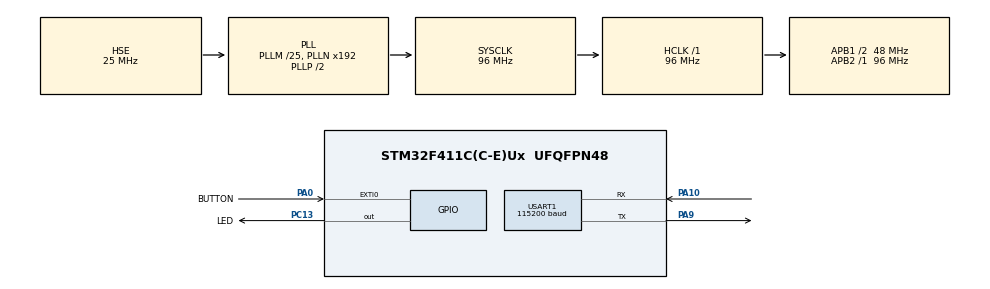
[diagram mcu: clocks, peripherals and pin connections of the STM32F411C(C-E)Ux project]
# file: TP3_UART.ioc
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Mcu.Family=STM32F4
Mcu.Name=STM32F411C(C-E)Ux
Mcu.Package=UFQFPN48
NVIC.EXTI0_IRQn=true\:0\:0\:false\:false\:true\:true\:true\:true
NVIC.PriorityGroup=NVIC_PRIORITYGROUP_4
NVIC.TIM4_IRQn=true\:0\:0\:false\:false\:true\:true\:true\:true
NVIC.USART1_IRQn=true\:0\:0\:false\:false\:true\:true\:true\:true
PA0-WKUP.GPIO_Label=BUTTON
PA0-WKUP.GPIO_ModeDefaultEXTI=GPIO_MODE_IT_FALLING
PA0-WKUP.GPIO_PuPd=GPIO_PULLUP
PA0-WKUP.Signal=GPXTI0
PA10.Mode=Asynchronous
PA10.Signal=USART1_RX
PA13.Mode=Serial_Wire
PA13.Signal=SYS_JTMS-SWDIO
PA14.Mode=Serial_Wire
PA14.Signal=SYS_JTCK-SWCLK
PA9.Mode=Asynchronous
PA9.Signal=USART1_TX
PC13-ANTI_TAMP.GPIO_Label=LED
PC13-ANTI_TAMP.Signal=GPIO_Output
PC14-OSC32_IN.Mode=LSE-External-Oscillator
PC14-OSC32_IN.Signal=RCC_OSC32_IN
PC15-OSC32_OUT.Mode=LSE-External-Oscillator
PC15-OSC32_OUT.Signal=RCC_OSC32_OUT
PH0\ -\ OSC_IN.Mode=HSE-External-Oscillator
PH0\ -\ OSC_IN.Signal=RCC_OSC_IN
PH1\ -\ OSC_OUT.Mode=HSE-External-Oscillator
PH1\ -\ OSC_OUT.Signal=RCC_OSC_OUT
ProjectManager.TargetToolchain=STM32CubeIDE
RCC.AHBFreq_Value=96000000
RCC.APB1CLKDivider=RCC_HCLK_DIV2
RCC.APB1Freq_Value=48000000
RCC.APB1TimFreq_Value=96000000
RCC.APB2Freq_Value=96000000
RCC.APB2TimFreq_Value=96000000
RCC.CortexFreq_Value=96000000
RCC.HCLKFreq_Value=96000000
RCC.HSE_VALUE=25000000
RCC.HSI_VALUE=16000000
RCC.PLLM=25
RCC.SYSCLKFreq_VALUE=96000000
RCC.SYSCLKSource=RCC_SYSCLKSOURCE_PLLCLK
RCC.VCOOutputFreq_Value=192000000
TIM4.Period=4999
TIM4.Prescaler=9599
USART1.BaudRate=115200
USART1.VirtualMode-Asynchronous=VM_ASYNC
VP_TIM4_VS_ClockSourceINT.Mode=Internal
board=custom

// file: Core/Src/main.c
/* USER CODE BEGIN Header */
/**
  ******************************************************************************
  * @file           : main.c
  * @brief          : TP3 - Interrupts & USART1 Communication (STM32F411CEUx)
  ******************************************************************************
  */
/* USER CODE END Header */
#include "main.h"

/* USER CODE BEGIN Includes */
#include <stdbool.h>
#include <stdint.h>
#include <stdio.h>
#include <string.h>
/* USER CODE END Includes */

TIM_HandleTypeDef htim4;
UART_HandleTypeDef huart1;

/* USER CODE BEGIN PV */
#define RX_BUF_SIZE 128

static volatile uint8_t uart_rx_buf[RX_BUF_SIZE];
static volatile uint16_t uart_rx_head = 0;
static volatile uint16_t uart_rx_tail = 0;
static uint8_t uart_rx_byte = 0;

static volatile bool button_event = false;
static volatile bool timer_event = false;
static bool blink_enabled = true;
/* USER CODE END PV */

void SystemClock_Config(void);
static void MX_GPIO_Init(void);
static void MX_TIM4_Init(void);
static void MX_USART1_UART_Init(void);

/* USER CODE BEGIN PFP */
static void uart_print(const char *s);
static void uart_println(const char *s);
static void handle_command(const char *cmd);
/* USER CODE END PFP */

/* USER CODE BEGIN 0 */
static void uart_print(const char *s)
{
    HAL_UART_Transmit(&huart1, (uint8_t *)s, (uint16_t)strlen(s), 100);
}

static void uart_println(const char *s)
{
    uart_print(s);
    uart_print("\r\n");
}

static void handle_command(const char *cmd)
{
    uart_print("Received: ");
    uart_println(cmd);

    if (strcmp(cmd, "LED ON") == 0)
    {
        blink_enabled = false;
        HAL_GPIO_WritePin(LED_GPIO_Port, LED_Pin, GPIO_PIN_RESET); // active low
        uart_println("OK: LED ON (blink paused)");
    }
    else if (strcmp(cmd, "LED OFF") == 0)
    {
        blink_enabled = false;
        HAL_GPIO_WritePin(LED_GPIO_Port, LED_Pin, GPIO_PIN_SET); // active low
        uart_println("OK: LED OFF (blink paused)");
    }
    else if (strcmp(cmd, "LED TOGGLE") == 0)
    {
        HAL_GPIO_TogglePin(LED_GPIO_Port, LED_Pin);
        uart_println("OK: LED TOGGLED");
    }
    else if (strcmp(cmd, "BLINK ON") == 0)
    {
        blink_enabled = true;
        uart_println("OK: BLINK ON (500ms)");
    }
    else if (strcmp(cmd, "BLINK OFF") == 0)
    {
        blink_enabled = false;
        uart_println("OK: BLINK OFF");
    }
    else if (strcmp(cmd, "STATUS") == 0)
    {
        GPIO_PinState pin = HAL_GPIO_ReadPin(LED_GPIO_Port, LED_Pin);
        uart_print("LED=");
        uart_print((pin == GPIO_PIN_RESET) ? "ON" : "OFF");
        uart_print(", BLINK=");
        uart_println(blink_enabled ? "ON" : "OFF");
    }
    else if (strcmp(cmd, "HELP") == 0)
    {
        uart_println("Commands: LED ON | LED OFF | LED TOGGLE | BLINK ON | BLINK OFF | STATUS | HELP");
    }
}
/* USER CODE END 0 */

int main(void)
{
    HAL_Init();
    SystemClock_Config();

    MX_GPIO_Init();
    MX_TIM4_Init();
    MX_USART1_UART_Init();

    /* USER CODE BEGIN 2 */
    HAL_TIM_Base_Start_IT(&htim4);
    HAL_UART_Receive_IT(&huart1, &uart_rx_byte, 1); // arm 1-byte interrupt RX
    uart_println("TP3 UART Ready");
    /* USER CODE END 2 */

    /* USER CODE BEGIN WHILE */
    char buffer[64];
    uint16_t idx = 0;

    while (1)
    {
        /* USER CODE END WHILE */

        /* USER CODE BEGIN 3 */
        if (button_event)
        {
            button_event = false;
            HAL_GPIO_TogglePin(LED_GPIO_Port, LED_Pin);
            uart_println("Button pressed");
        }

        if (timer_event)
        {
            timer_event = false;
            if (blink_enabled)
            {
                HAL_GPIO_TogglePin(LED_GPIO_Port, LED_Pin);
            }
        }

        while (uart_rx_tail != uart_rx_head)
        {
            char c = (char)uart_rx_buf[uart_rx_tail];
            uart_rx_tail = (uint16_t)((uart_rx_tail + 1U) % RX_BUF_SIZE);

            if (c == '\r')
            {
                continue; // ignore CR in CRLF terminals
            }

            if (c == '\n')
            {
                if (idx > 0U)
                {
                    buffer[idx] = '\0';
                    handle_command(buffer);
                    idx = 0U;
                }
            }
            else if (idx < (sizeof(buffer) - 1U))
            {
                buffer[idx++] = c;
            }
        }
        /* USER CODE END 3 */
    }
}

void SystemClock_Config(void)
{
    RCC_OscInitTypeDef RCC_OscInitStruct = {0};
    RCC_ClkInitTypeDef RCC_ClkInitStruct = {0};

    __HAL_RCC_PWR_CLK_ENABLE();
    __HAL_PWR_VOLTAGESCALING_CONFIG(PWR_REGULATOR_VOLTAGE_SCALE1);

    RCC_OscInitStruct.OscillatorType = RCC_OSCILLATORTYPE_HSE;
    RCC_OscInitStruct.HSEState = RCC_HSE_ON;
    RCC_OscInitStruct.PLL.PLLState = RCC_PLL_ON;
    RCC_OscInitStruct.PLL.PLLSource = RCC_PLLSOURCE_HSE;
    RCC_OscInitStruct.PLL.PLLM = 25;
    RCC_OscInitStruct.PLL.PLLN = 192;
    RCC_OscInitStruct.PLL.PLLP = RCC_PLLP_DIV2; // 96 MHz SYSCLK
    RCC_OscInitStruct.PLL.PLLQ = 4;
    if (HAL_RCC_OscConfig(&RCC_OscInitStruct) != HAL_OK)
    {
        Error_Handler();
    }

    RCC_ClkInitStruct.ClockType = RCC_CLOCKTYPE_HCLK | RCC_CLOCKTYPE_SYSCLK
                                  | RCC_CLOCKTYPE_PCLK1 | RCC_CLOCKTYPE_PCLK2;
    RCC_ClkInitStruct.SYSCLKSource = RCC_SYSCLKSOURCE_PLLCLK;
    RCC_ClkInitStruct.AHBCLKDivider = RCC_SYSCLK_DIV1;
    RCC_ClkInitStruct.APB1CLKDivider = RCC_HCLK_DIV2; // 48 MHz APB1, 96 MHz APB1 Timers
    RCC_ClkInitStruct.APB2CLKDivider = RCC_HCLK_DIV1;

    if (HAL_RCC_ClockConfig(&RCC_ClkInitStruct, FLASH_LATENCY_3) != HAL_OK)
    {
        Error_Handler();
    }
}

static void MX_TIM4_Init(void)
{
    TIM_ClockConfigTypeDef sClockSourceConfig = {0};
    TIM_MasterConfigTypeDef sMasterConfig = {0};

    htim4.Instance = TIM4;
    htim4.Init.Prescaler = 9599; // 96 MHz / 9600 = 10 kHz
    htim4.Init.CounterMode = TIM_COUNTERMODE_UP;
    htim4.Init.Period = 4999;    // 10 kHz / 5000 = 2 Hz (every 500 ms)
    htim4.Init.ClockDivision = TIM_CLOCKDIVISION_DIV1;
    htim4.Init.AutoReloadPreload = TIM_AUTORELOAD_PRELOAD_DISABLE;
    if (HAL_TIM_Base_Init(&htim4) != HAL_OK)
    {
        Error_Handler();
    }
    sClockSourceConfig.ClockSource = TIM_CLOCKSOURCE_INTERNAL;
    if (HAL_TIM_ConfigClockSource(&htim4, &sClockSourceConfig) != HAL_OK)
    {
        Error_Handler();
    }
    sMasterConfig.MasterOutputTrigger = TIM_TRGO_RESET;
    sMasterConfig.MasterSlaveMode = TIM_MASTERSLAVEMODE_DISABLE;
    if (HAL_TIMEx_MasterConfigSynchronization(&htim4, &sMasterConfig) != HAL_OK)
    {
        Error_Handler();
    }
}

static void MX_USART1_UART_Init(void)
{
    huart1.Instance = USART1;
    huart1.Init.BaudRate = 115200;
    huart1.Init.WordLength = UART_WORDLENGTH_8B;
    huart1.Init.StopBits = UART_STOPBITS_1;
    huart1.Init.Parity = UART_PARITY_NONE;
    huart1.Init.Mode = UART_MODE_TX_RX;
    huart1.Init.HwFlowCtl = UART_HWCONTROL_NONE;
    huart1.Init.OverSampling = UART_OVERSAMPLING_16;
    if (HAL_UART_Init(&huart1) != HAL_OK)
    {
        Error_Handler();
    }
}

static void MX_GPIO_Init(void)
{
    GPIO_InitTypeDef GPIO_InitStruct = {0};

    __HAL_RCC_GPIOC_CLK_ENABLE();
    __HAL_RCC_GPIOH_CLK_ENABLE();
    __HAL_RCC_GPIOA_CLK_ENABLE();

    HAL_GPIO_WritePin(LED_GPIO_Port, LED_Pin, GPIO_PIN_SET); // active low: start OFF

    GPIO_InitStruct.Pin = LED_Pin;
    GPIO_InitStruct.Mode = GPIO_MODE_OUTPUT_PP;
    GPIO_InitStruct.Pull = GPIO_NOPULL;
    GPIO_InitStruct.Speed = GPIO_SPEED_FREQ_LOW;
    HAL_GPIO_Init(LED_GPIO_Port, &GPIO_InitStruct);

    GPIO_InitStruct.Pin = BUTTON_Pin;
    GPIO_InitStruct.Mode = GPIO_MODE_IT_FALLING;
    GPIO_InitStruct.Pull = GPIO_PULLUP;
    HAL_GPIO_Init(BUTTON_GPIO_Port, &GPIO_InitStruct);

    HAL_NVIC_SetPriority(EXTI0_IRQn, 0, 0);
    HAL_NVIC_EnableIRQ(EXTI0_IRQn);
}

/* USER CODE BEGIN 4 */
void HAL_GPIO_EXTI_Callback(uint16_t GPIO_Pin)
{
    static uint32_t last_tick = 0;

    if (GPIO_Pin == BUTTON_Pin)
    {
        uint32_t now = HAL_GetTick();
        if ((now - last_tick) > 200U) // 200 ms debounce
        {
            button_event = true;
            last_tick = now;
        }
    }
}

void HAL_TIM_PeriodElapsedCallback(TIM_HandleTypeDef *htim)
{
    if (htim->Instance == TIM4)
    {
        timer_event = true;
    }
}

void HAL_UART_RxCpltCallback(UART_HandleTypeDef *huart)
{
    if (huart->Instance == USART1)
    {
        uint16_t next = (uint16_t)((uart_rx_head + 1U) % RX_BUF_SIZE);
        if (next != uart_rx_tail)
        {
            uart_rx_buf[uart_rx_head] = uart_rx_byte;
            uart_rx_head = next;
        }
        HAL_UART_Receive_IT(&huart1, &uart_rx_byte, 1); // re-arm for next byte
    }
}
/* USER CODE END 4 */

void Error_Handler(void)
{
    __disable_irq();
    while (1)
    {
    }
}
